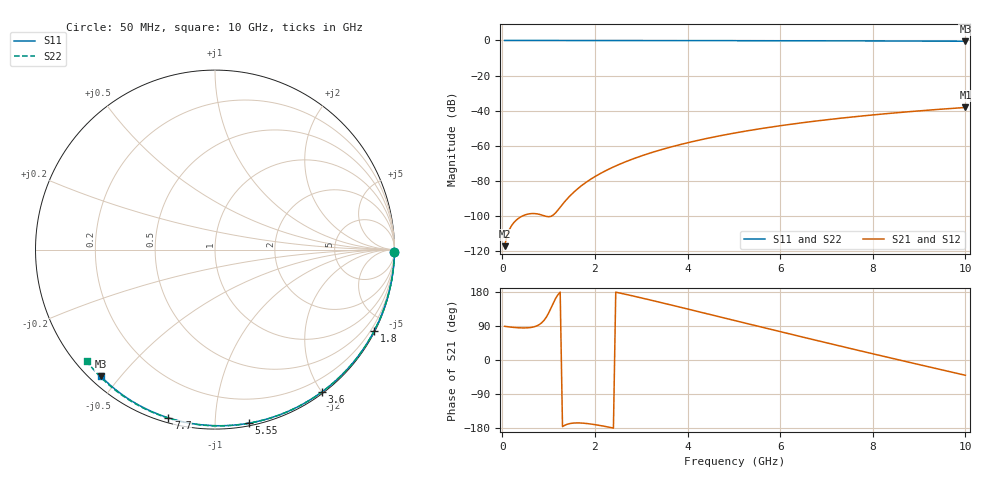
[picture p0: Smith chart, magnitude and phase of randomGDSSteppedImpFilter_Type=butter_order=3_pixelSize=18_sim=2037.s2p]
! freq	dB(S11)	phase(S11)	dB(S12)	phase(S12)
!  dB(S21)	phase(S21)	dB(S22)	phase(S22)
!S-par simulation data
#  GHz  S  DB  R 50
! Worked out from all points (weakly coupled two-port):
!   200 points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, 50 MHz to 10 GHz, reference 50 ohm
!   highest |S21| = -38.17 dB at 10 GHz (marker M1); lowest = -117.2 dB at 50 MHz (marker M2)
!   lowest |S11| = -0.4 dB at 10 GHz (marker M3), VSWR 39.00, Z = 1.54 - j22.2 ohm
!   |S11| at or under -10 dB: nowhere
!   |S22| runs from -0.5 to 0.0 dB; largest |S21 - S12| = 0
!   S11 on the Smith chart (normalised r, x): 50 MHz: open; 1.8 GHz: 0.04, -4.15; 3.6 GHz: 0.02, -2.01; 5.55 GHz: 0.02, -1.21; 7.7 GHz: 0.02, -0.76; 10 GHz: 0.03, -0.44
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0.05  -0.00 -0.8  -117.17 89.0  -117.17 89.0  -0.00 -0.8
0.45  -0.01 -6.9  -99.79 84.6  -99.79 84.6  -0.01 -7.2
0.9  -0.02 -13.7  -99.82 104.4  -99.82 104.4  -0.02 -14.4
1.75  -0.03 -26.3  -81.92 -166.7  -81.92 -166.7  -0.04 -27.7
1.8  -0.03 -27.1  -80.96 -167.3  -80.96 -167.3  -0.04 -28.5
1.85  -0.04 -27.8  -80.06 -168.0  -80.06 -168.0  -0.04 -29.3
2.15  -0.04 -32.2  -75.31 -173.7  -75.31 -173.7  -0.04 -33.9
2.35  -0.05 -35.1  -72.66 -178.4  -72.66 -178.4  -0.05 -37.0
2.55  -0.05 -38.0  -70.30 176.4  -70.30 176.4  -0.05 -40.0
2.95  -0.06 -43.8  -66.25 165.4  -66.25 165.4  -0.06 -46.1
3.4  -0.07 -50.1  -62.45 152.4  -62.45 152.4  -0.07 -52.8
3.6  -0.07 -52.9  -60.96 146.5  -60.96 146.5  -0.08 -55.7
3.9  -0.08 -57.1  -58.91 137.6  -58.91 137.6  -0.08 -60.1
4.3  -0.09 -62.6  -56.47 125.7  -56.47 125.7  -0.09 -65.8
5.05  -0.11 -72.6  -52.57 103.2  -52.57 103.2  -0.12 -76.3
5.55  -0.13 -79.0  -50.35 88.3  -50.35 88.3  -0.14 -83.1
6.1  -0.15 -86.0  -48.20 71.9  -48.20 71.9  -0.16 -90.4
6.7  -0.18 -93.5  -46.13 54.2  -46.13 54.2  -0.19 -98.2
7.7  -0.24 -105.5  -43.19 25.0  -43.19 25.0  -0.25 -110.8
8.35  -0.29 -113.1  -41.56 6.4  -41.56 6.4  -0.30 -118.9
9.2  -0.36 -122.9  -39.69 -17.8  -39.69 -17.8  -0.38 -129.2
10  -0.45 -132.0  -38.17 -40.3  -38.17 -40.3  -0.47 -138.9
